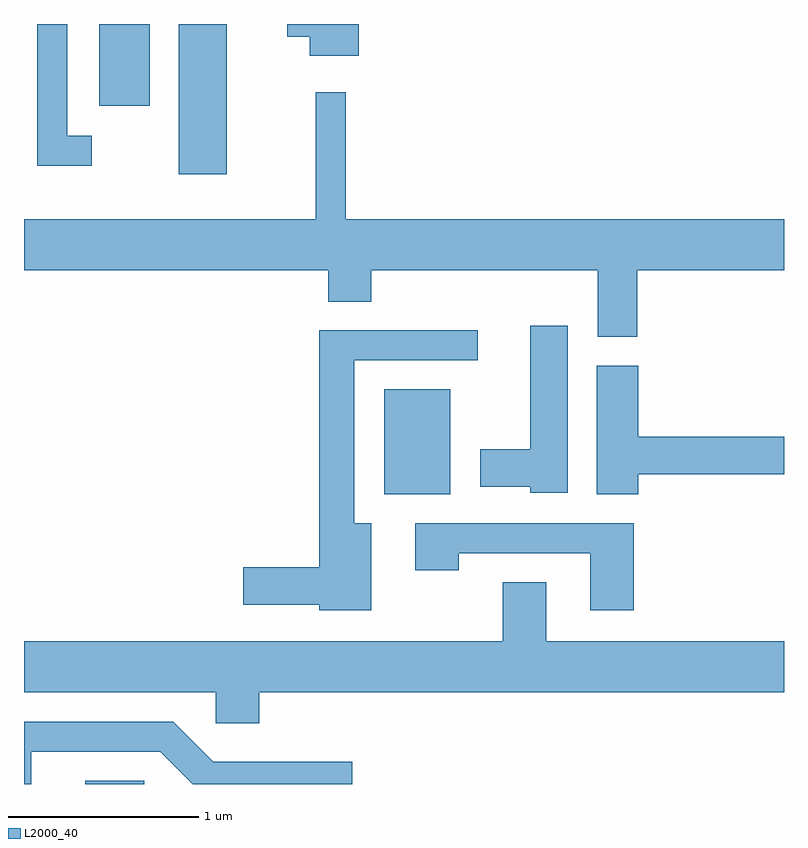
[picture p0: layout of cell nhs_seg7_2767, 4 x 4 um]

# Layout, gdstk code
import gdstk
lib = gdstk.Library(unit=1e-6, precision=1e-09)
def R(c, l, rs):  # rectangles x0, y0, x1, y1
    for r in rs: c.add(gdstk.rectangle(r[:2], r[2:], *l))
def P(c, l, *ps):  # polygons
    for p in ps: c.add(gdstk.Polygon(p, *l))
L2000_40 = (2000, 40)

nhs_seg7_2767 = lib.new_cell('nhs_seg7_2767')
R(nhs_seg7_2767, L2000_40, [(269.933,1738.252,270.244,1738.269), (271.506,1739.776,271.854,1740.329), (270.426,1741.461,270.679,1742.252), (270.006,1741.821,270.274,1742.252)])
P(nhs_seg7_2767, L2000_40, [(269.968,1741.664),(269.839,1741.664),(269.839,1742.252),(269.681,1742.252),(269.681,1741.506),(269.968,1741.506)],
  [(271.374,1742.252),(270.996,1742.252),(270.996,1742.186),(271.116,1742.186),(271.116,1742.086),(271.374,1742.086)],
  [(272.839,1740.956),(273.611,1740.956),(273.611,1741.224),(271.304,1741.224),(271.304,1741.893),(271.146,1741.893),(271.146,1741.224),(269.611,1741.224),(269.611,1740.956),(271.211,1740.956),(271.211,1740.791),(271.439,1740.791),(271.439,1740.956),(272.631,1740.956),(272.631,1740.606),(272.839,1740.606)],
  [(272.474,1740.664),(272.276,1740.664),(272.276,1740.014),(272.011,1740.014),(272.011,1739.816),(272.276,1739.816),(272.276,1739.786),(272.474,1739.786)],
  [(271.439,1739.624),(271.349,1739.624),(271.349,1740.481),(271.998,1740.481),(271.998,1740.639),(271.166,1740.639),(271.166,1739.394),(270.766,1739.394),(270.766,1739.196),(271.166,1739.196),(271.166,1739.166),(271.439,1739.166)],
  [(272.844,1739.881),(273.611,1739.881),(273.611,1740.079),(272.844,1740.079),(272.844,1740.454),(272.626,1740.454),(272.626,1739.776),(272.844,1739.776)],
  [(272.819,1739.624),(271.671,1739.624),(271.671,1739.376),(271.899,1739.376),(271.899,1739.466),(272.591,1739.466),(272.591,1739.166),(272.819,1739.166)],
  [(270.849,1738.736),(273.611,1738.736),(273.611,1739.004),(272.359,1739.004),(272.359,1739.314),(272.131,1739.314),(272.131,1739.004),(269.611,1739.004),(269.611,1738.736),(270.621,1738.736),(270.621,1738.571),(270.849,1738.571)],
  [(269.649,1738.421),(270.329,1738.421),(270.498,1738.252),(271.339,1738.252),(271.339,1738.369),(270.607,1738.369),(270.397,1738.579),(269.611,1738.579),(269.611,1738.252),(269.649,1738.252)])

lib.write_gds('nhs_seg7_2767.gds')
